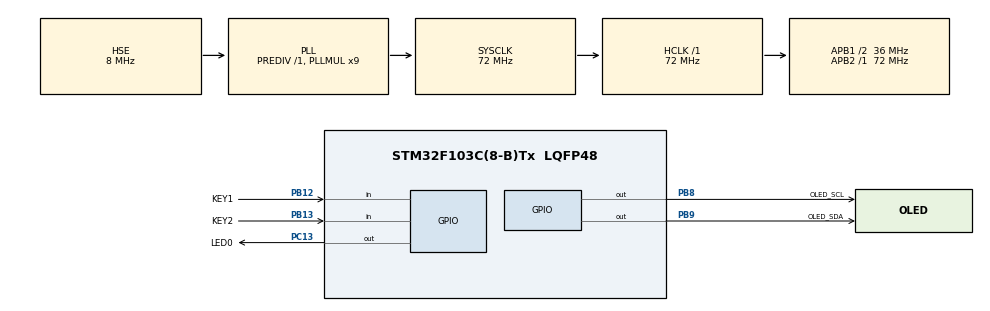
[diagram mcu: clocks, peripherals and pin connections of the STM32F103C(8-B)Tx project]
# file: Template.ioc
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Mcu.Family=STM32F1
Mcu.Name=STM32F103C(8-B)Tx
Mcu.Package=LQFP48
NVIC.PriorityGroup=NVIC_PRIORITYGROUP_2
PA13.Mode=Serial_Wire
PA13.Signal=SYS_JTMS-SWDIO
PA14.Mode=Serial_Wire
PA14.Signal=SYS_JTCK-SWCLK
PB12.GPIO_Label=KEY1
PB12.GPIO_PuPd=GPIO_PULLUP
PB12.Signal=GPIO_Input
PB13.GPIO_Label=KEY2
PB13.GPIO_PuPd=GPIO_PULLUP
PB13.Signal=GPIO_Input
PB8.GPIO_Label=OLED_SCL
PB8.GPIO_Speed=GPIO_SPEED_FREQ_HIGH
PB8.Signal=GPIO_Output
PB9.GPIO_Label=OLED_SDA
PB9.GPIO_Speed=GPIO_SPEED_FREQ_HIGH
PB9.PinState=GPIO_PIN_RESET
PB9.Signal=GPIO_Output
PC13-TAMPER-RTC.GPIO_Label=LED0
PC13-TAMPER-RTC.Signal=GPIO_Output
PC14-OSC32_IN.Mode=LSE-External-Oscillator
PC14-OSC32_IN.Signal=RCC_OSC32_IN
PC15-OSC32_OUT.Mode=LSE-External-Oscillator
PC15-OSC32_OUT.Signal=RCC_OSC32_OUT
PD0-OSC_IN.Mode=HSE-External-Oscillator
PD0-OSC_IN.Signal=RCC_OSC_IN
PD1-OSC_OUT.Mode=HSE-External-Oscillator
PD1-OSC_OUT.Signal=RCC_OSC_OUT
ProjectManager.HeapSize=0x200
ProjectManager.StackSize=0x400
ProjectManager.TargetToolchain=MDK-ARM V5.32
RCC.AHBFreq_Value=72000000
RCC.APB1CLKDivider=RCC_HCLK_DIV2
RCC.APB1Freq_Value=36000000
RCC.APB1TimFreq_Value=72000000
RCC.APB2Freq_Value=72000000
RCC.APB2TimFreq_Value=72000000
RCC.HCLKFreq_Value=72000000
RCC.PLLMUL=RCC_PLL_MUL9
RCC.PLLSourceVirtual=RCC_PLLSOURCE_HSE
RCC.SYSCLKFreq_VALUE=72000000
RCC.SYSCLKSource=RCC_SYSCLKSOURCE_PLLCLK
RCC.USBFreq_Value=72000000
board=custom

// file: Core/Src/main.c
/* USER CODE BEGIN Header */
/**
  ******************************************************************************
  * @file           : main.c
  * @brief          : Main program body
  ******************************************************************************
  * @attention
  *
  * Copyright (c) 2025 STMicroelectronics.
  * All rights reserved.
  *
  * This software is licensed under terms that can be found in the LICENSE file
  * in the root directory of this software component.
  * If no LICENSE file comes with this software, it is provided AS-IS.
  *
  ******************************************************************************
  */
/* USER CODE END Header */
#include "main.h"
#include "gpio.h"

void SystemClock_Config(void);

/* USER CODE BEGIN 0 */
// *******************库/函数导入*******************
// 系统库
#include <stdlib.h>
#include "string.h"
#include <stdio.h>
// 自设库
#include "OLED.h"
#include "Key.h"
// *******************全局变量*******************

// *******************实验区域*******************
int check1 ;
int check2 ;
int check[50] ;

/* USER CODE END 0 */

int main(void)
{

  /* MCU Configuration--------------------------------------------------------*/

  /* Reset of all peripherals, Initializes the Flash interface and the Systick. */
  HAL_Init();

  /* Configure the system clock */
  SystemClock_Config();

  /* Initialize all configured peripherals */
  MX_GPIO_Init();
  /* USER CODE BEGIN 2 */

	// ******************* setup *******************
	// 启动Systick时钟
	HAL_SYSTICK_Config(SystemCoreClock / 1000);
	// 初始化OLED
	OLED_Init() ;
	OLED_ShowString(0 , 0 , "Hello World" , OLED_8X16 ) ;
	//

	// ******************* 实验区域 *******************

  /* USER CODE END 2 */

  /* Infinite loop */
  while (1)
  {

    /* USER CODE BEGIN 3 */
		// ******************* while *******************
		// 测试按键功能
		if (Key_Check(KEY_1 , KEY_SINGLE))
		{
			HAL_GPIO_TogglePin(LED0_GPIO_Port , LED0_Pin) ;
		}

		// ******************* 实验区域 *******************

		// 必须存在:OLED更新
		OLED_Update() ;
  }
  /* USER CODE END 3 */
}

void SystemClock_Config(void)
{
  RCC_OscInitTypeDef RCC_OscInitStruct = {0};
  RCC_ClkInitTypeDef RCC_ClkInitStruct = {0};

  /** Initializes the RCC Oscillators according to the specified parameters
  * in the RCC_OscInitTypeDef structure.
  */
  RCC_OscInitStruct.OscillatorType = RCC_OSCILLATORTYPE_HSE;
  RCC_OscInitStruct.HSEState = RCC_HSE_ON;
  RCC_OscInitStruct.HSEPredivValue = RCC_HSE_PREDIV_DIV1;
  RCC_OscInitStruct.HSIState = RCC_HSI_ON;
  RCC_OscInitStruct.PLL.PLLState = RCC_PLL_ON;
  RCC_OscInitStruct.PLL.PLLSource = RCC_PLLSOURCE_HSE;
  RCC_OscInitStruct.PLL.PLLMUL = RCC_PLL_MUL9;
  if (HAL_RCC_OscConfig(&RCC_OscInitStruct) != HAL_OK)
  {
    Error_Handler();
  }

  /** Initializes the CPU, AHB and APB buses clocks
  */
  RCC_ClkInitStruct.ClockType = RCC_CLOCKTYPE_HCLK|RCC_CLOCKTYPE_SYSCLK
                              |RCC_CLOCKTYPE_PCLK1|RCC_CLOCKTYPE_PCLK2;
  RCC_ClkInitStruct.SYSCLKSource = RCC_SYSCLKSOURCE_PLLCLK;
  RCC_ClkInitStruct.AHBCLKDivider = RCC_SYSCLK_DIV1;
  RCC_ClkInitStruct.APB1CLKDivider = RCC_HCLK_DIV2;
  RCC_ClkInitStruct.APB2CLKDivider = RCC_HCLK_DIV1;

  if (HAL_RCC_ClockConfig(&RCC_ClkInitStruct, FLASH_LATENCY_2) != HAL_OK)
  {
    Error_Handler();
  }
}

/* USER CODE BEGIN 4 */
// Systick定时中断
void HAL_SYSTICK_Callback(void)
{
	// 计时
	static int count_sys = 0 ;
	count_sys ++ ;
	// 功能1:
	if (count_sys % 1000 == 0)
	{
//		HAL_GPIO_TogglePin(LED0_GPIO_Port , LED0_Pin ) ;
	}
	// 功能2: 按键
	Key_Tick() ;
}

/* USER CODE END 4 */

void Error_Handler(void)
{
  __disable_irq();
  while (1)
  {
  }
}
